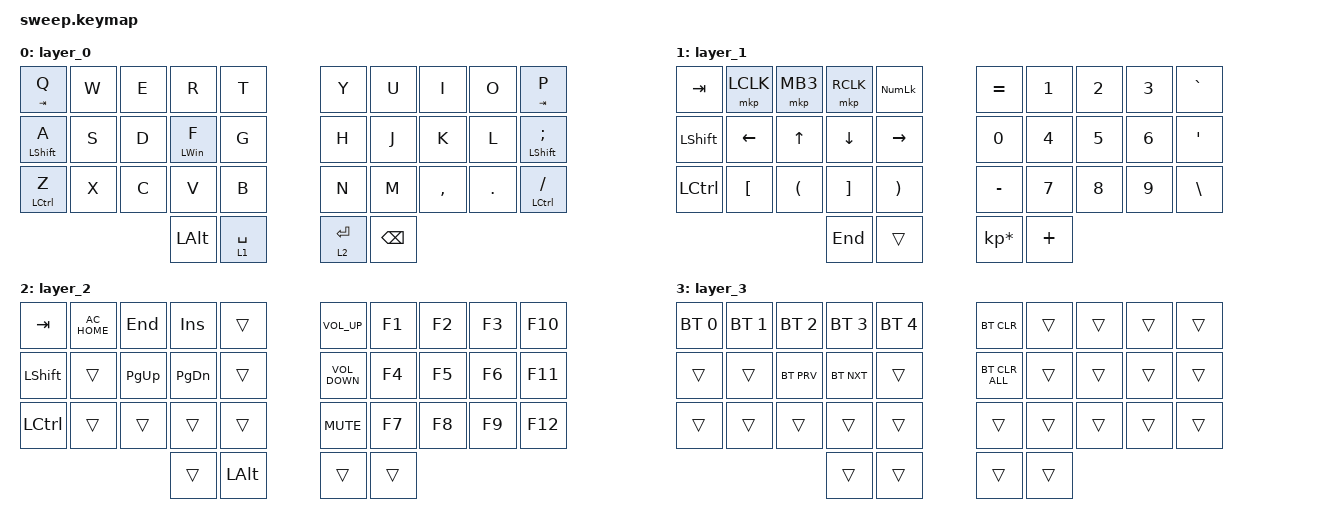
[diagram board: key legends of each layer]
#include <behaviors.dtsi>
#include <dt-bindings/zmk/bt.h>
#include <dt-bindings/zmk/keys.h>
#include <dt-bindings/zmk/mouse.h>

&mt {
    flavor = "tap-preferred";
    tapping_term_ms = <200>;
};

/ {
    combos {
        compatible = "zmk,combos";

        esc {
            bindings = <&kp ESCAPE>;
            key-positions = <20 21>;
        };

        delete {
            bindings = <&kp DEL>;
            key-positions = <16 17>;
        };

        backspace {
            bindings = <&kp BACKSPACE>;
            key-positions = <12 13>;
        };

        combodelete {
            bindings = <&kp LC(BACKSPACE)>;
            key-positions = <0 4>;
        };
    };

    keymap {
        compatible = "zmk,keymap";

        layer_0 {
            bindings = <
&mt TAB Q           &kp W  &kp E  &kp R           &kp T          &kp Y        &kp U     &kp I      &kp O    &mt TAB P
&mt LEFT_SHIFT A    &kp S  &kp D  &mt LEFT_WIN F  &kp G          &kp H        &kp J     &kp K      &kp L    &mt LEFT_SHIFT SEMICOLON
&mt LEFT_CONTROL Z  &kp X  &kp C  &kp V           &kp B          &kp N        &kp M     &kp COMMA  &kp DOT  &mt LEFT_CONTROL SLASH
                                  &kp LEFT_ALT    &lt 1 SPACE    &lt 2 ENTER  &kp BSPC
            >;
        };

        layer_1 {
            bindings = <
&kp TAB    &mkp LCLK         &mkp MB3              &mkp RCLK          &kp KP_NUMLOCK           &kp EQUAL        &kp NUMBER_1  &kp NUMBER_2  &kp NUMBER_3  &kp GRAVE
&kp LSHFT  &kp LEFT          &kp UP_ARROW          &kp DOWN_ARROW     &kp RIGHT_ARROW          &kp N0           &kp NUMBER_4  &kp N5        &kp NUMBER_6  &kp APOS
&kp LCTRL  &kp LEFT_BRACKET  &kp LEFT_PARENTHESIS  &kp RIGHT_BRACKET  &kp RIGHT_PARENTHESIS    &kp MINUS        &kp N7        &kp N8        &kp N9        &kp BSLH
                                                   &kp END            &trans                   &kp KP_MULTIPLY  &kp PLUS
            >;
        };

        layer_2 {
            bindings = <
&kp TAB    &kp C_AC_HOME  &kp END      &kp INS        &trans          &kp C_VOLUME_UP    &kp F1  &kp F2  &kp F3  &kp F10
&kp LSHFT  &trans         &kp PAGE_UP  &kp PAGE_DOWN  &trans          &kp C_VOLUME_DOWN  &kp F4  &kp F5  &kp F6  &kp F11
&kp LCTRL  &trans         &trans       &trans         &trans          &kp K_MUTE         &kp F7  &kp F8  &kp F9  &kp F12
                                       &trans         &kp LEFT_ALT    &trans             &trans
            >;
        };

        layer_3 {
            bindings = <
&bt BT_SEL 0  &bt BT_SEL 1  &bt BT_SEL 2  &bt BT_SEL 3  &bt BT_SEL 4    &bt BT_CLR      &trans  &trans  &trans  &trans
&trans        &trans        &bt BT_PRV    &bt BT_NXT    &trans          &bt BT_CLR_ALL  &trans  &trans  &trans  &trans
&trans        &trans        &trans        &trans        &trans          &trans          &trans  &trans  &trans  &trans
                                          &trans        &trans          &trans          &trans
            >;
        };
    };

    conditional_layers {
        compatible = "zmk,conditional-layers";

        layerbt {
            if-layers = <1 2>;
            then-layer = <3>;
        };
    };
};

